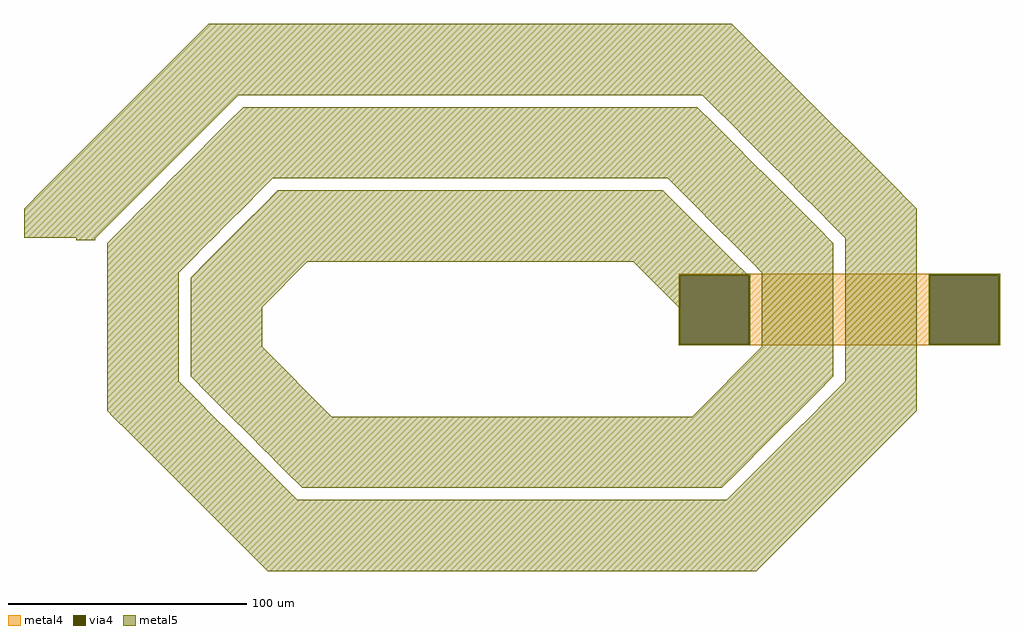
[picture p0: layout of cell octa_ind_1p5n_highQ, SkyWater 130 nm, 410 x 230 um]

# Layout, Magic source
magic
tech sky130A
magscale 1 2
<< metal4 >>
rect -6000 -18137 21000 -18025
rect -6000 -23913 -5888 -18137
rect -112 -23913 15112 -18137
rect 20888 -23913 21000 -18137
rect -6000 -24025 21000 -23913
<< via4 >>
rect -5888 -23913 -112 -18137
rect 15112 -23913 20888 -18137
<< metal5 >>
tri -51477 -3000 -45477 3000 se
rect -45477 -3000 -1523 3000
tri -1523 -3000 4477 3000 sw
tri -55000 -6523 -51477 -3000 se
rect -51477 -4000 -43991 -3000
tri -43991 -4000 -42991 -3000 nw
tri -4009 -4000 -3009 -3000 ne
rect -3009 -4000 4477 -3000
rect -51477 -5414 -45405 -4000
tri -45405 -5414 -43991 -4000 nw
tri -43991 -5414 -42577 -4000 se
rect -42577 -5414 -4423 -4000
tri -4423 -5414 -3009 -4000 sw
tri -3009 -5414 -1595 -4000 ne
rect -1595 -5414 4477 -4000
rect -51477 -6523 -46586 -5414
tri -56486 -8009 -55000 -6523 se
rect -55000 -6595 -46586 -6523
tri -46586 -6595 -45405 -5414 nw
tri -45172 -6595 -43991 -5414 se
rect -43991 -6595 -3009 -5414
rect -55000 -8009 -48000 -6595
tri -48000 -8009 -46586 -6595 nw
tri -46586 -8009 -45172 -6595 se
rect -45172 -6828 -3009 -6595
tri -3009 -6828 -1595 -5414 sw
tri -1595 -6828 -181 -5414 ne
rect -181 -6828 4477 -5414
rect -45172 -7172 -1595 -6828
tri -1595 -7172 -1251 -6828 sw
tri -181 -7172 163 -6828 ne
rect 163 -7172 4477 -6828
rect -45172 -8009 -1251 -7172
tri -59385 -10908 -56486 -8009 se
rect -56486 -9423 -49414 -8009
tri -49414 -9423 -48000 -8009 nw
tri -48000 -9423 -46586 -8009 se
rect -46586 -8586 -1251 -8009
tri -1251 -8586 163 -7172 sw
tri 163 -8586 1577 -7172 ne
rect 1577 -8586 4477 -7172
rect -46586 -9423 163 -8586
rect -56486 -10000 -49991 -9423
tri -49991 -10000 -49414 -9423 nw
tri -48577 -10000 -48000 -9423 se
rect -48000 -10000 163 -9423
tri 163 -10000 1577 -8586 sw
tri 1577 -10000 2991 -8586 ne
rect 2991 -10000 4477 -8586
tri 4477 -10000 11477 -3000 sw
rect -56486 -10908 -50899 -10000
tri -50899 -10908 -49991 -10000 nw
tri -49485 -10908 -48577 -10000 se
rect -48577 -10908 -41092 -10000
tri -61000 -12523 -59385 -10908 se
rect -59385 -12322 -52313 -10908
tri -52313 -12322 -50899 -10908 nw
tri -50899 -12322 -49485 -10908 se
rect -49485 -11000 -41092 -10908
tri -41092 -11000 -40092 -10000 nw
tri -6908 -11000 -5908 -10000 ne
rect -5908 -11000 1577 -10000
rect -49485 -12322 -42414 -11000
tri -42414 -12322 -41092 -11000 nw
tri -41000 -12322 -39678 -11000 se
rect -39678 -11414 -7322 -11000
tri -7322 -11414 -6908 -11000 sw
tri -5908 -11414 -5494 -11000 ne
rect -5494 -11414 1577 -11000
tri 1577 -11414 2991 -10000 sw
tri 2991 -11414 4405 -10000 ne
rect 4405 -11414 11477 -10000
rect -39678 -12322 -6908 -11414
rect -59385 -12523 -52586 -12322
rect -61000 -12595 -52586 -12523
tri -52586 -12595 -52313 -12322 nw
tri -51172 -12595 -50899 -12322 se
rect -50899 -12595 -43828 -12322
rect -61000 -14009 -54000 -12595
tri -54000 -14009 -52586 -12595 nw
tri -52586 -14009 -51172 -12595 se
rect -51172 -13736 -43828 -12595
tri -43828 -13736 -42414 -12322 nw
tri -42414 -13736 -41000 -12322 se
rect -41000 -12414 -6908 -12322
tri -6908 -12414 -5908 -11414 sw
tri -5494 -12414 -4494 -11414 ne
rect -4494 -12414 2991 -11414
rect -41000 -13736 -5908 -12414
rect -51172 -14009 -45242 -13736
rect -61000 -15000 -55000 -14009
rect -56600 -15200 -55000 -15000
tri -55000 -15009 -54000 -14009 nw
tri -53586 -15009 -52586 -14009 se
rect -52586 -15009 -45242 -14009
tri -54000 -15423 -53586 -15009 se
rect -53586 -15150 -45242 -15009
tri -45242 -15150 -43828 -13736 nw
tri -43828 -15150 -42414 -13736 se
rect -42414 -13828 -5908 -13736
tri -5908 -13828 -4494 -12414 sw
tri -4494 -13828 -3080 -12414 ne
rect -3080 -12595 2991 -12414
tri 2991 -12595 4172 -11414 sw
tri 4405 -12595 5586 -11414 ne
rect 5586 -12523 11477 -11414
tri 11477 -12523 14000 -10000 sw
rect 5586 -12595 14000 -12523
rect -3080 -13828 4172 -12595
rect -42414 -14172 -4494 -13828
tri -4494 -14172 -4150 -13828 sw
tri -3080 -14172 -2736 -13828 ne
rect -2736 -14009 4172 -13828
tri 4172 -14009 5586 -12595 sw
tri 5586 -14009 7000 -12595 ne
rect 7000 -14009 14000 -12595
rect -2736 -14172 5586 -14009
rect -42414 -15150 -4150 -14172
rect -53586 -15423 -45586 -15150
rect -54000 -15494 -45586 -15423
tri -45586 -15494 -45242 -15150 nw
tri -44172 -15494 -43828 -15150 se
rect -43828 -15494 -4150 -15150
rect -54000 -16908 -47000 -15494
tri -47000 -16908 -45586 -15494 nw
tri -45586 -16908 -44172 -15494 se
rect -44172 -15586 -4150 -15494
tri -4150 -15586 -2736 -14172 sw
tri -2736 -15586 -1322 -14172 ne
rect -1322 -15423 5586 -14172
tri 5586 -15423 7000 -14009 sw
tri 7000 -15009 8000 -14009 ne
rect -1322 -15586 7000 -15423
rect -44172 -16908 -2736 -15586
rect -54000 -28042 -48000 -16908
tri -48000 -17908 -47000 -16908 nw
tri -47000 -18322 -45586 -16908 se
rect -45586 -17000 -2736 -16908
tri -2736 -17000 -1322 -15586 sw
tri -1322 -17000 92 -15586 ne
rect 92 -17000 7000 -15586
rect -45586 -18322 -41000 -17000
rect -47000 -26627 -41000 -18322
tri -41000 -20808 -37192 -17000 nw
tri -9808 -18137 -8671 -17000 ne
rect -8671 -18025 -1322 -17000
tri -1322 -18025 -297 -17000 sw
tri 92 -17908 1000 -17000 ne
rect -8671 -18137 0 -18025
tri -8671 -20808 -6000 -18137 ne
rect -6000 -23913 -5888 -18137
rect -112 -23913 0 -18137
rect -6000 -24025 0 -23913
tri -48000 -28042 -47000 -27042 sw
tri -47000 -28042 -45585 -26627 ne
rect -45585 -28042 -41000 -26627
rect -54000 -28585 -47000 -28042
tri -47000 -28585 -46457 -28042 sw
tri -45585 -28585 -45042 -28042 ne
rect -45042 -28585 -41000 -28042
rect -54000 -29527 -46457 -28585
tri -54000 -30000 -53527 -29527 ne
rect -53527 -30000 -46457 -29527
tri -46457 -30000 -45042 -28585 sw
tri -45042 -30000 -43627 -28585 ne
rect -43627 -30000 -41000 -28585
tri -41000 -30000 -35142 -24142 sw
tri -4858 -30000 1000 -24142 se
rect 1000 -26627 7000 -17000
rect 1000 -28042 5585 -26627
tri 5585 -28042 7000 -26627 nw
tri 7000 -28042 8000 -27042 se
rect 8000 -28042 14000 -14009
rect 15000 -18137 21000 -18025
rect 15000 -23913 15112 -18137
rect 20888 -23913 21000 -18137
rect 15000 -24025 21000 -23913
rect 1000 -28585 5042 -28042
tri 5042 -28585 5585 -28042 nw
tri 6457 -28585 7000 -28042 se
rect 7000 -28585 14000 -28042
rect 1000 -30000 3627 -28585
tri 3627 -30000 5042 -28585 nw
tri 5042 -30000 6457 -28585 se
rect 6457 -29527 14000 -28585
rect 6457 -30000 6527 -29527
tri -53527 -31415 -52112 -30000 ne
rect -52112 -31415 -45042 -30000
tri -45042 -31415 -43627 -30000 sw
tri -43627 -31415 -42212 -30000 ne
rect -42212 -31212 2415 -30000
tri 2415 -31212 3627 -30000 nw
tri 3830 -31212 5042 -30000 se
rect 5042 -31212 6527 -30000
rect -42212 -31415 1000 -31212
tri -52112 -32830 -50697 -31415 ne
rect -50697 -32830 -43627 -31415
tri -43627 -32830 -42212 -31415 sw
tri -42212 -32830 -40797 -31415 ne
rect -40797 -32627 1000 -31415
tri 1000 -32627 2415 -31212 nw
tri 2415 -32627 3830 -31212 se
rect 3830 -32627 6527 -31212
rect -40797 -32830 -415 -32627
tri -50697 -33464 -50063 -32830 ne
rect -50063 -33170 -42212 -32830
tri -42212 -33170 -41872 -32830 sw
tri -40797 -33170 -40457 -32830 ne
rect -40457 -33170 -415 -32830
rect -50063 -33464 -41872 -33170
tri -50063 -34585 -48942 -33464 ne
rect -48942 -34042 -41872 -33464
tri -41872 -34042 -41000 -33170 sw
tri -40457 -34042 -39585 -33170 ne
rect -39585 -34042 -415 -33170
tri -415 -34042 1000 -32627 nw
tri 1000 -34042 2415 -32627 se
rect 2415 -34042 6527 -32627
rect -48942 -34585 -41000 -34042
tri -41000 -34585 -40457 -34042 sw
tri -39585 -34585 -39042 -34042 ne
rect -39042 -34585 -958 -34042
tri -958 -34585 -415 -34042 nw
tri 457 -34585 1000 -34042 se
rect 1000 -34585 6527 -34042
tri -48942 -35527 -48000 -34585 ne
rect -48000 -35527 -40457 -34585
tri -48000 -37000 -46527 -35527 ne
rect -46527 -36000 -40457 -35527
tri -40457 -36000 -39042 -34585 sw
tri -39042 -36000 -37627 -34585 ne
rect -37627 -36000 -2373 -34585
tri -2373 -36000 -958 -34585 nw
tri -958 -36000 457 -34585 se
rect 457 -36000 6527 -34585
rect -46527 -37000 -39042 -36000
tri -39042 -37000 -38042 -36000 sw
tri -1958 -37000 -958 -36000 se
rect -958 -37000 6527 -36000
tri 6527 -37000 14000 -29527 nw
tri -46527 -43000 -40527 -37000 ne
rect -40527 -43000 527 -37000
tri 527 -43000 6527 -37000 nw
<< end >>
